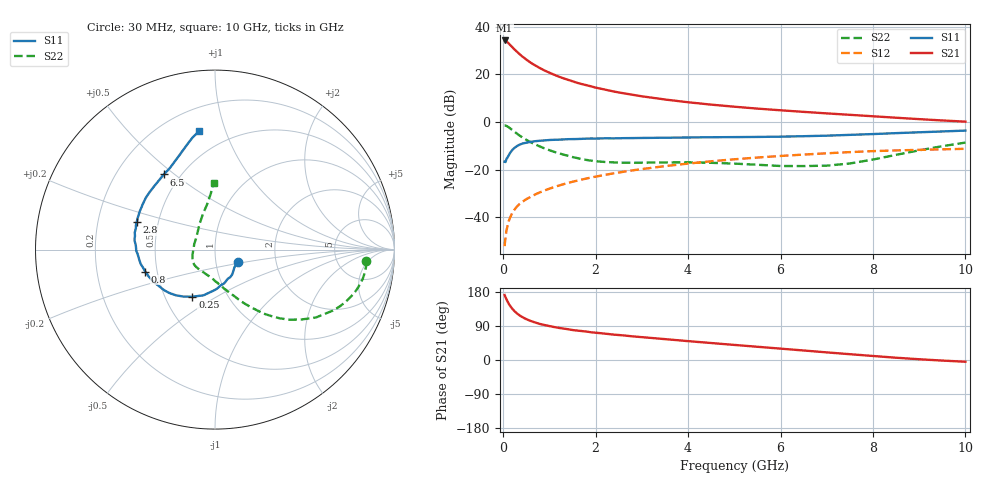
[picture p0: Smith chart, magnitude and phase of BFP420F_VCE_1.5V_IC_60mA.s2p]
! Infineon Technologies  Discrete & RF Semiconductors
! BFP420F
! VCE =  1.5 V,  IC =  60 mA
! Common Emitter S-Parameters:  Sep 2011
# GHz  S  MA  R  50
!  f  S11  S21  S12  S22
! GHz  MAG  ANG  MAG  ANG  MAG  ANG  MAG  ANG
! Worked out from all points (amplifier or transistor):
!   54 points, 30 MHz to 10 GHz, reference 50 ohm
!   highest |S21| = 34.3 dB at 30 MHz (marker M1)
!   |S21| within 3 dB of that: start of sweep to 205.9 MHz
!   unconditionally stable (mu >= 1): start of sweep to 33.56 MHz; 961 MHz to end of sweep
!   at 120 MHz: K = 0.56, MSG = 37.3 dB, |S12| = -41.5 dB
!   at 1.3 GHz: K = 1.08, MAG = 20.5 dB, |S12| = -26.1 dB
!   at 10 GHz: K = 1.24, MAG = 2.7 dB, |S12| = -11.2 dB
!   S11 on the Smith chart (normalised r, x): 30 MHz: 1.29, -0.18; 250 MHz: 0.68, -0.39; 800 MHz: 0.43, -0.13; 2.8 GHz: 0.38, +0.15; 6.5 GHz: 0.41, +0.46; 10 GHz: 0.34, +0.81
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0.03  0.1469 -27.6  51.63 171.5  0.0025 90.9  0.8458 -4.3
0.05  0.1453 -41.4  50.35 165.5  0.0037 87.6  0.8438 -9.0
0.06  0.1575 -49.7  50 163.0  0.0045 87.5  0.839 -11.2
0.08  0.1752 -60.7  48.23 157.7  0.0059 81.1  0.8222 -15.4
0.1  0.1878 -71.7  46.66 152.8  0.0072 77.9  0.8008 -19.2
0.12  0.201 -80.7  44.61 148.3  0.0084 77.2  0.7769 -22.7
0.15  0.2272 -91.2  41.56 142.7  0.01 75.1  0.739 -27.4
0.2  0.2631 -104.3  37.05 134.7  0.0127 72.3  0.6779 -33.9
0.25  0.2912 -115.7  33.01 128.1  0.0149 70.2  0.6199 -38.9
0.35  0.3349 -130.5  26.86 118.1  0.019 68.0  0.5262 -46.7
0.45  0.362 -141.1  22.35 110.8  0.0225 66.9  0.4556 -52.1
0.6  0.3866 -152.3  17.51 102.8  0.0274 66.5  0.3756 -58.3
0.8  0.4074 -162.5  13.5 94.9  0.0338 66.5  0.3063 -64.8
1.2  0.4287 -174.8  9.01 84.8  0.0465 66.5  0.2228 -76.9
1.7  0.4458 175.3  6.289 76.4  0.0624 65.5  0.1672 -92.7
2.8  0.4626 160.4  3.743 62.4  0.0974 60.9  0.1407 -124.5
3.5  0.4706 152.7  2.981 55.1  0.1194 57.3  0.1427 -136.7
5.5  0.4888 134.4  1.921 34.9  0.1807 44.1  0.1276 -168.3
6.5  0.5066 124.2  1.641 25.1  0.2086 37.1  0.1197 165.5
7  0.5198 118.8  1.525 20.1  0.2218 33.4  0.1221 150.4
8.5  0.5872 107.1  1.237 6.0  0.2549 21.9  0.2058 109.5
10  0.6646 97.8  1.023 -4.6  0.2755 12.6  0.3719 91.2
